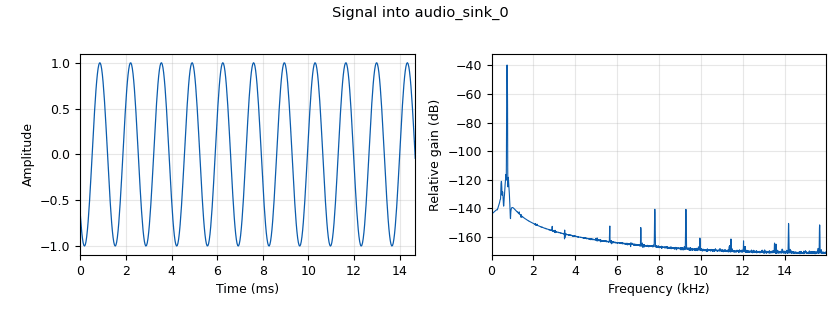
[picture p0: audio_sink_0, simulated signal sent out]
options:
  parameters:
    author: ipsit
    description: Generating Happy Birthday Song
    generate_options: qt_gui
    id: lab1_task1
    output_language: python
    title: Lab 1 Task 1
  states: {}

blocks:
- name: samp_rate
  id: variable
  parameters:
    value: '32000'
  states: {}
- name: audio_sink_0
  id: audio_sink
  parameters:
    samp_rate: samp_rate
  states: {}
- name: blocks_repeat_0
  id: blocks_repeat
  parameters:
    interp: '10000'
    type: float
  states: {}
- name: blocks_throttle2_0
  id: blocks_throttle2
  parameters:
    samples_per_second: samp_rate
    type: float
  states: {}
- name: blocks_vco_f_0
  id: blocks_vco_f
  parameters:
    amplitude: '1'
    samp_rate: samp_rate
    sensitivity: '10'
  states: {}
- name: blocks_vector_source_x_0
  id: blocks_vector_source_x
  parameters:
    repeat: 'True'
    type: float
    vector: (262,262,294,262,349,330,262,294,262,392,349,262,262,523,440,349,330,294,466,466,440,349,392,349)
  states: {}

connections:
- [blocks_repeat_0, '0', blocks_vco_f_0, '0']
- [blocks_throttle2_0, '0', audio_sink_0, '0']
- [blocks_vco_f_0, '0', blocks_throttle2_0, '0']
- [blocks_vector_source_x_0, '0', blocks_repeat_0, '0']

metadata:
  file_format: 1
  grc_version: 3.10.9.2
